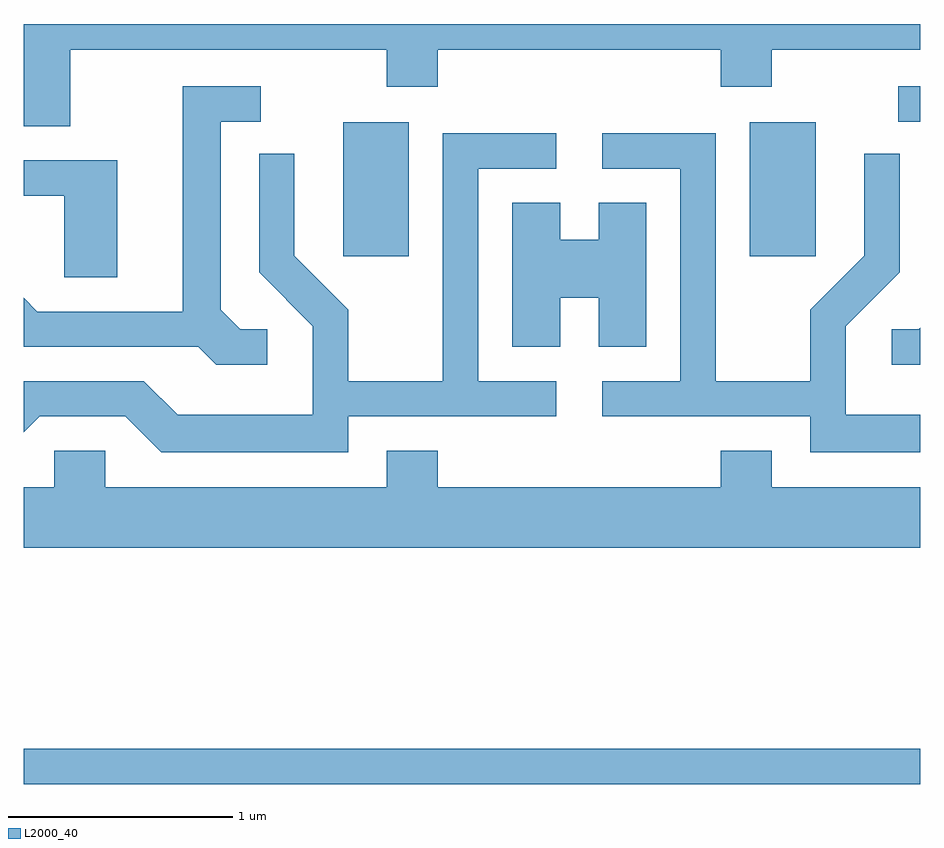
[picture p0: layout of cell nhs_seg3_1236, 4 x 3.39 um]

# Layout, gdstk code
import gdstk
lib = gdstk.Library(unit=1e-6, precision=1e-09)
def R(c, l, rs):  # rectangles x0, y0, x1, y1
    for r in rs: c.add(gdstk.rectangle(r[:2], r[2:], *l))
def P(c, l, *ps):  # polygons
    for p in ps: c.add(gdstk.Polygon(p, *l))
L2000_40 = (2000, 40)

nhs_seg3_1236 = lib.new_cell('nhs_seg3_1236')
R(nhs_seg3_1236, L2000_40, [(221.611,1140.501,225.611,1140.659), (223.036,1142.856,223.329,1143.454), (224.851,1142.856,225.144,1143.454), (225.513,1143.456,225.611,1143.614)])
P(nhs_seg3_1236, L2000_40, [(221.819,1143.776),(223.231,1143.776),(223.231,1143.611),(223.459,1143.611),(223.459,1143.776),(224.721,1143.776),(224.721,1143.611),(224.949,1143.611),(224.949,1143.776),(225.611,1143.776),(225.611,1143.892),(221.611,1143.892),(221.611,1143.436),(221.819,1143.436)],
  [(222.698,1142.529),(222.577,1142.529),(222.489,1142.617),(222.489,1143.456),(222.668,1143.456),(222.668,1143.614),(222.321,1143.614),(222.321,1142.609),(221.672,1142.609),(221.611,1142.67),(221.611,1142.451),(222.389,1142.451),(222.469,1142.371),(222.698,1142.371)],
  [(225.611,1142.149),(225.279,1142.149),(225.279,1142.544),(225.519,1142.784),(225.519,1143.313),(225.361,1143.313),(225.361,1142.857),(225.121,1142.617),(225.121,1142.299),(224.699,1142.299),(224.699,1143.404),(224.193,1143.404),(224.193,1143.246),(224.541,1143.246),(224.541,1142.299),(224.193,1142.299),(224.193,1142.141),(225.121,1142.141),(225.121,1141.981),(225.611,1141.981)],
  [(223.059,1142.141),(223.988,1142.141),(223.988,1142.299),(223.639,1142.299),(223.639,1143.246),(223.988,1143.246),(223.988,1143.404),(223.481,1143.404),(223.481,1142.299),(223.059,1142.299),(223.059,1142.617),(222.819,1142.857),(222.819,1143.313),(222.661,1143.313),(222.661,1142.784),(222.901,1142.544),(222.901,1142.149),(222.297,1142.149),(222.147,1142.299),(221.611,1142.299),(221.611,1142.07),(221.682,1142.141),(222.064,1142.141),(222.224,1141.981),(223.059,1141.981)],
  [(222.029,1143.284),(221.611,1143.284),(221.611,1143.126),(221.791,1143.126),(221.791,1142.761),(222.029,1142.761)],
  [(224.004,1142.671),(224.176,1142.671),(224.176,1142.451),(224.389,1142.451),(224.389,1143.094),(224.176,1143.094),(224.176,1142.929),(224.004,1142.929),(224.004,1143.094),(223.791,1143.094),(223.791,1142.451),(224.004,1142.451)],
  [(225.611,1142.536),(225.604,1142.529),(225.483,1142.529),(225.483,1142.371),(225.611,1142.371)],
  [(225.611,1141.824),(224.949,1141.824),(224.949,1141.989),(224.721,1141.989),(224.721,1141.824),(223.459,1141.824),(223.459,1141.989),(223.231,1141.989),(223.231,1141.824),(221.974,1141.824),(221.974,1141.989),(221.746,1141.989),(221.746,1141.824),(221.611,1141.824),(221.611,1141.556),(225.611,1141.556)])

lib.write_gds('nhs_seg3_1236.gds')
